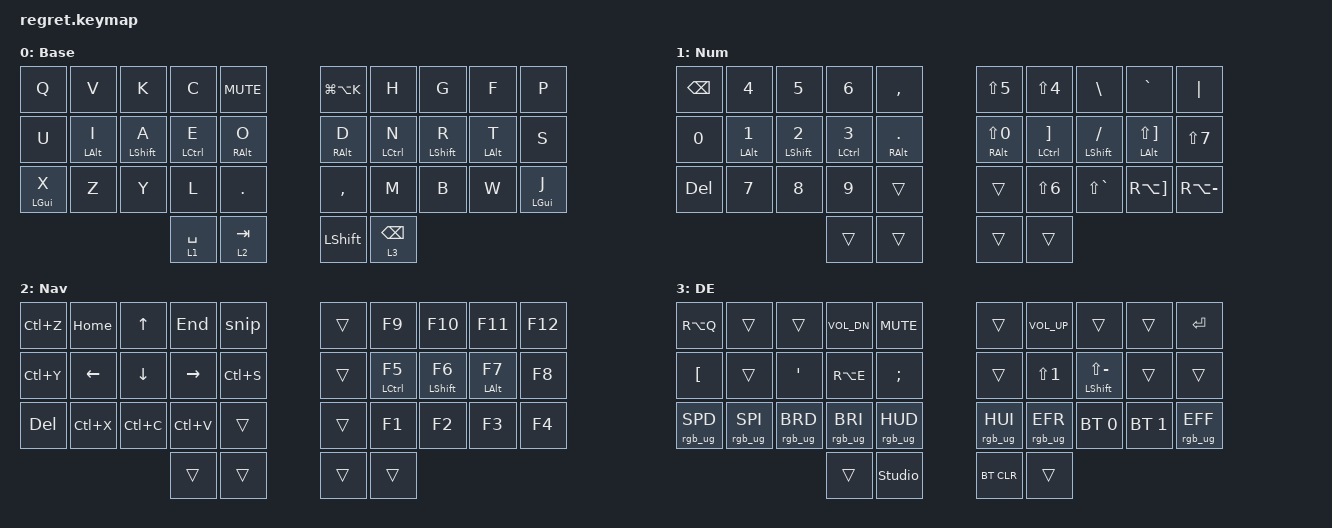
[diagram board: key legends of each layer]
#include <behaviors.dtsi>
#include <dt-bindings/zmk/keys.h>
#include <dt-bindings/zmk/rgb.h>
#include <dt-bindings/zmk/bt.h>
#include <dt-bindings/zmk/ext_power.h>
#include <dt-bindings/zmk/outputs.h>

#define BASE 0
#define NUM  1
#define NAV  2
#define DE   3

#define COMBO(NAME, BINDINGS, KEYPOS, LAYERS) \
combo_##NAME { \
    timeout-ms = <50>; \
    bindings = <BINDINGS>; \
    key-positions = <KEYPOS>; \
    layers = <LAYERS>; \
};
/{
behaviors {
        
        hl: homerow_mods_left {
            compatible = "zmk,behavior-hold-tap";
            label = "homerow mods left";
            #binding-cells = <2>;
            //flavor = "hold-preferred";
            // flavor = "tap-preferred";
            flavor = "balanced";
            tapping-term-ms = <250>;
            //quick-tap-ms = <100>;
            //hold-while-undecided;
            // global-quick-tap;
            bindings = <&kp>, <&kp>;
            // opposite side hand keys
            hold-trigger-key-positions = <5 6 7 8 9 15 16 17 18 19 25 26 27 28 29 30 31 32 33 34 35>;
        };
        hr: homerow_mods_right {
            compatible = "zmk,behavior-hold-tap";
            label = "homerow mods right";
            #binding-cells = <2>;
            //flavor = "hold-preferred";
            // flavor = "tap-preferred";
            flavor = "balanced";
            tapping-term-ms = <250>;
            //hold-while-undecided;
            //quick-tap-ms = <100>;
            // global-quick-tap;
            bindings = <&kp>, <&kp>;
            // opposite side hand keys
            hold-trigger-key-positions = <0 1 2 3 4 10 11 12 13 14 20 21 22 23 24 30 31 32 33 34 35>;
        };
        lt_wr: layer_toggle_write {
            compatible = "zmk,behavior-hold-tap";
            #binding-cells = <2>;
            flavor = "hold-preferred";
            tapping-term-ms = <200>;
            bindings = <&mo>, <&kp>;
            display-name = "Layer-Toggle writing";
        };
    };

    combos {
        compatible = "zmk,combos";
        
        /* Bottom corners (Z+/) = RGB toggle */
        combo_rgb_tog {
            key-positions = <20 29>;
            bindings = <&rgb_ug RGB_TOG>;
        };
        COMBO(boot, &bootloader, 0 9, BASE)
        COMBO(shiftablesch, &macro_shiftable_sch, 17 18, 0)
        COMBO(sfS,  &kp MINUS,  16 17, BASE DE) // Scharf S ß
        COMBO(LT,   &kp NUBS,       21  22, 0 ) // lower than
        //COMBO(PIP,  &kp RA(NUBS),  21  22, 1)  // PIPE
        COMBO(GT,   &kp LS(NUBS),   27  28, 0 ) // greater than
        COMBO(TLD,  &kp RA(NUBS),   27  28, NUM) // Tilde
        COMBO(DOT,  &kp DOT,        11  12, 0 1)  
        COMBO(CMA,  &kp COMMA,        12  13, 0 1)
        COMBO(ESC,  &kp ESC,        10  1,  0 1 2 3)
        COMBO(SQT,  &kp LS(NUHS),   26  27, NUM  ) // Single quotes
        COMBO(DQT,  &kp LS(N2),     26  27, BASE )// Double quotes
        COMBO(ENT,  &kp ENTER,      7   8,  0 1 2 3)
        COMBO(ENT2, &kp ENTER,      1   2,  0 1 )
        COMBO(br1,  &macro_brc1,     22 23,  NUM)
        COMBO(br2,  &macro_brc2,     21 22,  NUM)
        COMBO(br3,  &macro_brc3,     20 21,  NUM)
    };
macros {       
        snip: snip {
            compatible = "zmk,behavior-macro";
            #binding-cells = <0>;
            bindings = <&macro_press &kp LSHFT &kp LEFT_GUI
                        &macro_tap &kp S
                        &macro_release &kp LSHIFT &kp LEFT_GUI>;
            label = "SNIP";
        };
        macro_shiftable_sch: macro_shiftable_sch {
            label = "Macro_shiftable_sch";
            compatible = "zmk,behavior-macro";
            #binding-cells = <0>;
            bindings = <
                    &macro_tap &kp S
                    &macro_release &kp LSHIFT
                    &macro_tap &kp C &kp H
            >;
            tap-ms = <10>;
        };
        macro_brc1: macro_brc1 {
            label = "macro_brc1";
            compatible = "zmk,behavior-macro";
            #binding-cells = <0>;
            bindings = <
                    &macro_tap &kp LS(N8)
                    &macro_tap &kp LS(N9)
                    &macro_tap &kp LEFT
            >;
            tap-ms = <10>;
        };
        macro_brc2: macro_brc2 {
            label = "macro_brc2";
            compatible = "zmk,behavior-macro";
            #binding-cells = <0>;
            bindings = <
                    &macro_tap &kp RA(N8)
                    &macro_tap &kp RA(N9)
                    &macro_tap &kp LEFT
            >;
            tap-ms = <10>;
        };
        macro_brc3: macro_brc3 {
            label = "macro_brc3";
            compatible = "zmk,behavior-macro";
            #binding-cells = <0>;
            bindings = <
                    &macro_tap &kp RA(N7)
                    &macro_tap &kp RA(N0)
                    &macro_tap &kp LEFT
            >;
            tap-ms = <10>;
        };
                
    };
    keymap {
        compatible = "zmk,keymap";

        Base  {
// ------------------------------------------------------------------------------------------------------
// |    0    |    1    |    2    |    3    |    4    |    5    |    6    |    7    |    8    |    9    |
// |   10    |   11    |   12    |   13    |   14    |   15    |   16    |   17    |   18    |   19    |
// |   20    |   21    |   22    |   23    |   24    |   25    |   26    |   27    |   28    |   29    |
//                               |   30    |   31    |   32    |   33    |
            bindings = <
     &kp Q       &kp V        &kp K          &kp C           &kp C_MUTE  &kp LG(LA(K))    &kp H       &kp G       &kp F       &kp P
     &kp U       &hl LALT I   &hl LSHFT A    &hl LCTRL E     &hl RALT O  &hr RALT D  &hr LCTRL N &hr LSHFT R &hr LALT T  &kp S
     &hl LGUI X  &kp Z        &kp Y          &kp L           &kp DOT     &kp COMMA   &kp M       &kp B       &kp W       &hr LGUI J
                                        &lt 1 SPACE     &lt 2 TAB   &kp LSHIFT    &lt_wr 3 BSPC
            >;
        };
       Num {
           bindings = <
     &kp BSPC   &kp N4        &kp N5           &kp N6           &kp COMMA      &kp LS(N5)         &kp LS(N4)     &kp BSLH        &kp GRAVE         &kp PIPE
     &kp N0     &hl LALT N1   &hl LSHFT N2     &hl LCTRL N3     &hl RALT DOT   &hr RALT LS(N0)    &hr LCTRL RBKT &hr LSHFT SLASH &hr LALT LS(RBKT) &kp LS(N7)
     &kp DEL    &kp N7        &kp N8           &kp N9           &trans         &trans             &kp LS(N6)     &kp LS(GRAVE)   &kp RA(RBKT)      &kp RA(MINUS) 
                                               &trans           &trans     &trans          &trans   
        >;
      }; 
        Nav {
            bindings = <
    &kp LC(Z)   &kp HOME     &kp UP        &kp END        &snip        &trans       &kp F9        &kp F10       &kp F11     &kp F12
    &kp LC(Y)   &kp LEFT     &kp DOWN      &kp RIGHT      &kp LC(S)    &trans       &hr LCTRL F5  &hr LSHFT F6  &hr LALT F7 &kp F8
    &kp DEL     &kp LC(X)    &kp LC(C)     &kp LC(V)      &trans       &trans       &kp F1        &kp F2        &kp F3      &kp F4
                                           &trans         &trans       &trans       &trans 
            >;
        };
    //     Nav {
    //         bindings = <
    // &kp TAB     &kp HOME     &kp UP        &kp END        &snip        &kp LS(N5)   &kp LS(N2)         &kp BSLH            &kp GRAVE    &kp NUHS
    // &kp DEL     &kp LEFT     &hl LSHFT DOWN &kp RIGHT     &kp LC(S)    &kp LS(N0)   &hr LCTRL RBRC  &hr LSHIFT SLASH &hr LALT LS(RBRC)      &kp LS(N7)
    // &kp LC(Y)   &kp LC(X)    &kp LC(C)     &kp LC(V)      &kp NUBS     &kp LS(GRAVE) &kp LS(N6)         &kp RA(BSLH)       &kp RA(RBRC)  &kp RA(MINUS)
    //                                        &trans         &trans       &trans       &trans 
    //         >;
    //     };       jj

        DE {
            bindings = <
&kp RA(Q)           &trans          &trans          &kp C_VOL_DN    &kp C_MUTE      &trans            &kp C_VOL_UP    &trans                &trans         &kp ENTER
&kp LBKT            &trans          &kp SQT         &kp RA(E)       &kp SEMI        &trans            &kp LS(N1)      &hr LSHIFT LS(MINUS)  &trans         &trans
&rgb_ug RGB_SPD     &rgb_ug RGB_SPI &rgb_ug RGB_BRD &rgb_ug RGB_BRI &rgb_ug RGB_HUD &rgb_ug RGB_HUI   &rgb_ug RGB_EFR &bt BT_SEL 0          &bt BT_SEL 1   &rgb_ug RGB_EFF
                                                    &trans          &studio_unlock    &bt BT_CLR    &trans  
            >;
        };
    };
};
